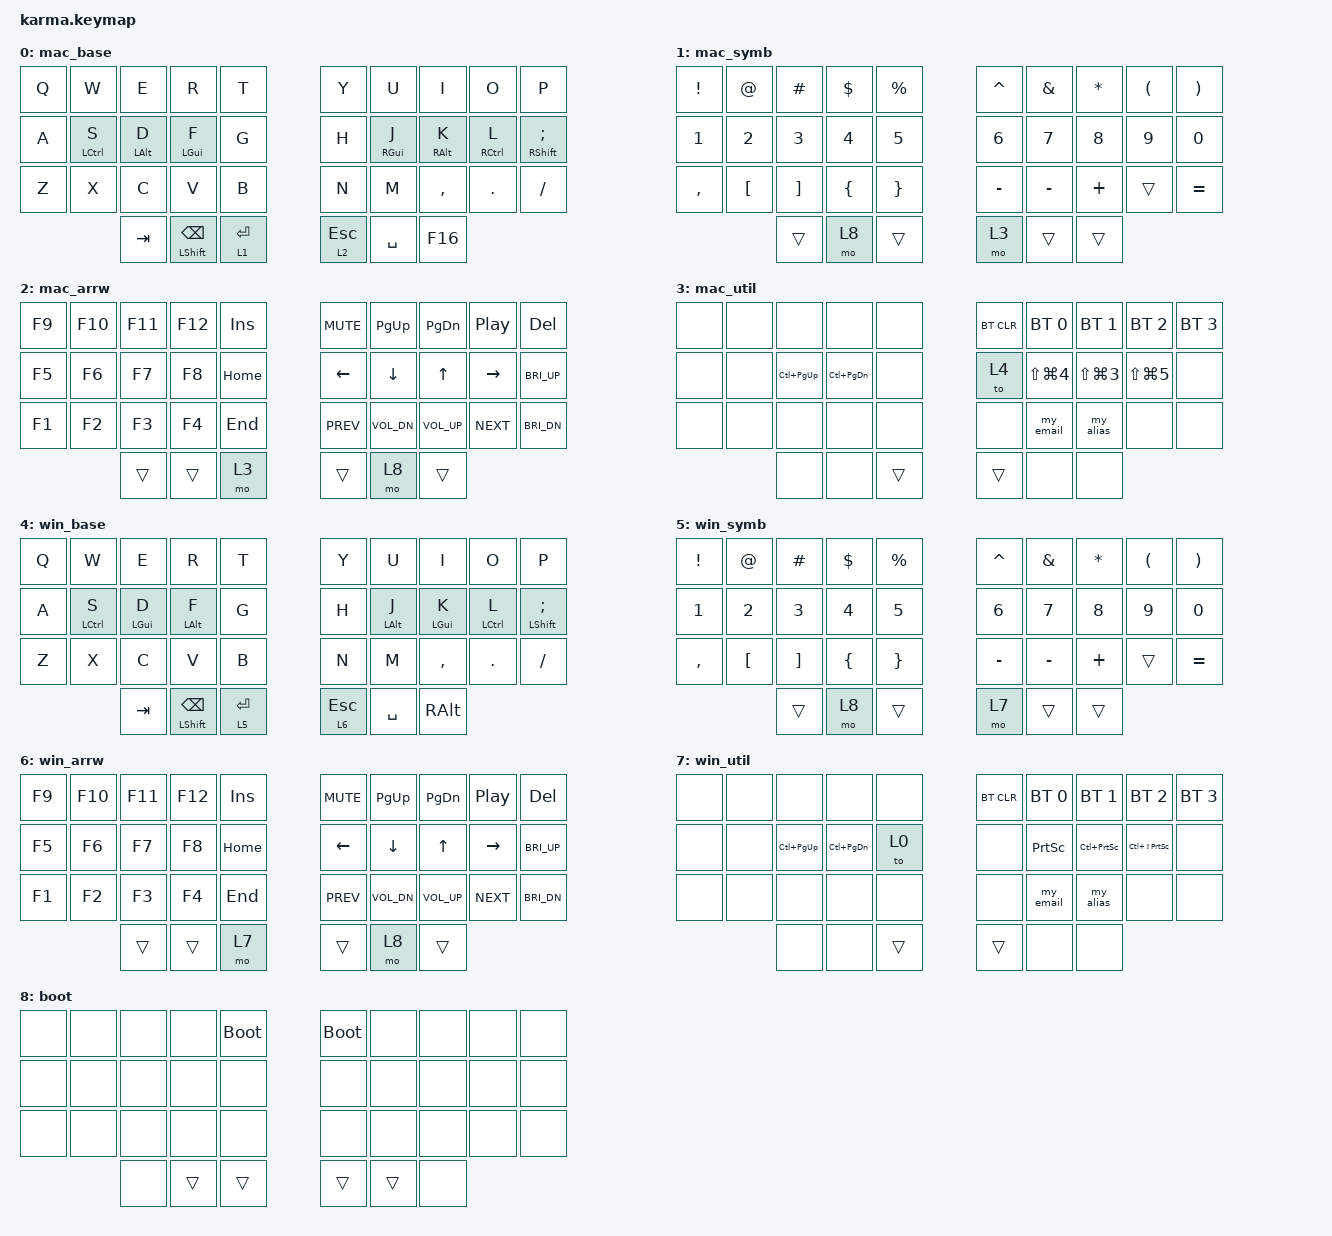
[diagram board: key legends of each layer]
#include <behaviors.dtsi>
#include <dt-bindings/zmk/bt.h>
#include <dt-bindings/zmk/keys.h>

&lt {
    quick-tap-ms = <175>;
    flavor = "hold-preferred";
};

&mt { quick-tap-ms = <175>; };

//  0  1  2  3  4    5  6  7  8  9
// 10 11 12 13 14   15 16 17 18 19
// 20 21 22 23 24   25 26 27 28 29
//       30 31 32   33 34 35

/ {
    combos {
        compatible = "zmk,combos";

        mac_cut {
            bindings = <&kp LG(X)>;
            key-positions = <21 23>;
            layers = <0>;
        };

        mac_copy {
            bindings = <&kp LG(C)>;
            key-positions = <21 22>;
            layers = <0>;
        };

        mac_paste {
            bindings = <&kp LG(V)>;
            key-positions = <22 23>;
            layers = <0>;
        };

        mac_undo {
            bindings = <&kp LG(Z)>;
            key-positions = <21 20>;
            layers = <0>;
        };

        win_cut {
            bindings = <&kp LC(X)>;
            key-positions = <21 23>;
            layers = <4>;
        };

        win_copy {
            bindings = <&kp LC(C)>;
            key-positions = <21 22>;
            layers = <4>;
        };

        win_paste {
            bindings = <&kp LC(V)>;
            key-positions = <22 23>;
            layers = <4>;
        };

        win_undo {
            bindings = <&kp LC(Z)>;
            key-positions = <21 20>;
            layers = <4>;
        };

        sqt {
            bindings = <&kp SQT>;
            key-positions = <16 17>;
            timeout-ms = <35>;
            require-prior-idle-ms = <150>;
            layers = <0 4>;
        };

        minus {
            bindings = <&kp MINUS>;
            key-positions = <17 18>;
            timeout-ms = <35>;
            require-prior-idle-ms = <150>;
            layers = <0 4>;
        };

        grave {
            bindings = <&kp GRAVE>;
            key-positions = <26 27>;
            layers = <0 4>;
        };

        bslh {
            bindings = <&kp BSLH>;
            key-positions = <27 28>;
            layers = <0 4>;
        };

        lt {
            bindings = <&kp LT>;
            key-positions = <26 27>;
            layers = <1 5>;
        };

        gt {
            bindings = <&kp GT>;
            key-positions = <27 28>;
            layers = <1 5>;
        };

        youtube_speed_down {
            bindings = <&youtube_speed_down>;
            key-positions = <11 12>;
            timeout-ms = <35>;
            require-prior-idle-ms = <150>;
            layers = <0 4>;
        };

        youtube_speed_up {
            bindings = <&youtube_speed_up>;
            key-positions = <12 13>;
            timeout-ms = <35>;
            require-prior-idle-ms = <150>;
            layers = <0 4>;
        };
    };

    macros {
        my_email: my_email {
            compatible = "zmk,behavior-macro";
            #binding-cells = <0>;
            bindings = <&kp B &kp L &kp A &kp C &kp K &kp E &kp A &kp G &kp L &kp E &kp N1 &kp N0 &kp AT &kp I &kp C &kp L &kp O &kp U &kp D &kp DOT &kp C &kp O &kp M>;
        };

        my_alias: my_alias {
            compatible = "zmk,behavior-macro";
            #binding-cells = <0>;
            bindings = <&kp LS(U) &kp N &kp LS(E) &kp M &kp O &kp T &kp I &kp O &kp N &kp E &kp LS(D)>;
        };

        // Change YouTube playback speed after entering input mode of Vimium
        youtube_speed_down: youtube_speed_down {
            compatible = "zmk,behavior-macro";
            #binding-cells = <0>;
            bindings = <&kp I &kp LT &kp LT &kp LT &kp LT &kp ESC>;
        };

        youtube_speed_up: youtube_speed_up {
            compatible = "zmk,behavior-macro";
            #binding-cells = <0>;
            bindings = <&kp I &kp GT &kp GT &kp GT &kp GT &kp ESC>;
        };
    };

    behaviors {
        hrm_l: hrm_l {
            compatible = "zmk,behavior-hold-tap";
            bindings = <&kp>, <&kp>;

            #binding-cells = <2>;
            tapping-term-ms = <200>;
            quick-tap-ms = <175>;
            flavor = "tap-preferred";
            hold-trigger-key-positions = <5 6 7 8 9 11 12 13 15 16 17 18 19 25 26 27 28 29 30 31 32 33 34 35>;
        };

        hrm_r: hrm_r {
            compatible = "zmk,behavior-hold-tap";
            bindings = <&kp>, <&kp>;

            #binding-cells = <2>;
            tapping-term-ms = <200>;
            quick-tap-ms = <175>;
            flavor = "tap-preferred";
            hold-trigger-key-positions = <0 1 2 3 4 10 11 12 13 14 16 17 18 19 20 21 22 23 24 30 31 32 33 34 35>;
        };
    };

    keymap {
        compatible = "zmk,keymap";

        mac_base {
            bindings = <
&kp Q  &kp W           &kp E          &kp R          &kp T                                     &kp Y      &kp U          &kp I          &kp O           &kp P
&kp A  &hrm_l LCTRL S  &hrm_l LALT D  &hrm_l LGUI F  &kp G                                     &kp H      &hrm_r RGUI J  &hrm_r RALT K  &hrm_r RCTRL L  &hrm_r RSHFT SEMI
&kp Z  &kp X           &kp C          &kp V          &kp B                                     &kp N      &kp M          &kp COMMA      &kp DOT         &kp SLASH
                                      &kp TAB        &mt LSHFT BSPC  &lt 1 ENTER    &lt 2 ESC  &kp SPACE  &kp F16
            >;
        };

        mac_symb {
            bindings = <
&kp EXCL   &kp AT    &kp HASH  &kp DLLR  &kp PRCNT                   &kp CARET  &kp AMPS   &kp ASTRK  &kp LPAR  &kp RPAR
&kp N1     &kp N2    &kp N3    &kp N4    &kp N5                      &kp N6     &kp N7     &kp N8     &kp N9    &kp N0
&kp COMMA  &kp LBKT  &kp RBKT  &kp LBRC  &kp RBRC                    &kp MINUS  &kp MINUS  &kp PLUS   &trans    &kp EQUAL
                               &trans    &mo 8      &trans    &mo 3  &trans     &trans
            >;
        };

        mac_arrw {
            bindings = <
&kp F9  &kp F10  &kp F11  &kp F12  &kp INS                    &kp C_MUTE  &kp PG_UP     &kp PG_DN     &kp C_PP    &kp DEL
&kp F5  &kp F6   &kp F7   &kp F8   &kp HOME                   &kp LEFT    &kp DOWN      &kp UP        &kp RIGHT   &kp C_BRI_UP
&kp F1  &kp F2   &kp F3   &kp F4   &kp END                    &kp C_PREV  &kp C_VOL_DN  &kp C_VOL_UP  &kp C_NEXT  &kp C_BRI_DN
                          &trans   &trans    &mo 3    &trans  &mo 8       &trans
            >;
        };

        mac_util {
            bindings = <
&none  &none  &none          &none          &none                    &bt BT_CLR  &bt BT_SEL 0    &bt BT_SEL 1    &bt BT_SEL 2    &bt BT_SEL 3
&none  &none  &kp LC(PG_UP)  &kp LC(PG_DN)  &none                    &to 4       &kp LS(LG(N4))  &kp LS(LG(N3))  &kp LS(LG(N5))  &none
&none  &none  &none          &none          &none                    &none       &my_email       &my_alias       &none           &none
                             &none          &none  &trans    &trans  &none       &none
            >;
        };

        win_base {
            bindings = <
&kp Q  &kp W           &kp E          &kp R          &kp T                                     &kp Y      &kp U          &kp I          &kp O           &kp P
&kp A  &hrm_l LCTRL S  &hrm_l LGUI D  &hrm_l LALT F  &kp G                                     &kp H      &hrm_r LALT J  &hrm_r LGUI K  &hrm_r LCTRL L  &hrm_r LSHFT SEMI
&kp Z  &kp X           &kp C          &kp V          &kp B                                     &kp N      &kp M          &kp COMMA      &kp DOT         &kp SLASH
                                      &kp TAB        &mt LSHFT BSPC  &lt 5 ENTER    &lt 6 ESC  &kp SPACE  &kp RALT
            >;
        };

        win_symb {
            bindings = <
&kp EXCL   &kp AT    &kp HASH  &kp DLLR  &kp PRCNT                   &kp CARET  &kp AMPS   &kp ASTRK  &kp LPAR  &kp RPAR
&kp N1     &kp N2    &kp N3    &kp N4    &kp N5                      &kp N6     &kp N7     &kp N8     &kp N9    &kp N0
&kp COMMA  &kp LBKT  &kp RBKT  &kp LBRC  &kp RBRC                    &kp MINUS  &kp MINUS  &kp PLUS   &trans    &kp EQUAL
                               &trans    &mo 8      &trans    &mo 7  &trans     &trans
            >;
        };

        win_arrw {
            bindings = <
&kp F9  &kp F10  &kp F11  &kp F12  &kp INS                    &kp C_MUTE  &kp PG_UP     &kp PG_DN     &kp C_PP    &kp DEL
&kp F5  &kp F6   &kp F7   &kp F8   &kp HOME                   &kp LEFT    &kp DOWN      &kp UP        &kp RIGHT   &kp C_BRI_UP
&kp F1  &kp F2   &kp F3   &kp F4   &kp END                    &kp C_PREV  &kp C_VOL_DN  &kp C_VOL_UP  &kp C_NEXT  &kp C_BRI_DN
                          &trans   &trans    &mo 7    &trans  &mo 8       &trans
            >;
        };

        win_util {
            bindings = <
&none  &none  &none          &none          &none                    &bt BT_CLR  &bt BT_SEL 0     &bt BT_SEL 1         &bt BT_SEL 2             &bt BT_SEL 3
&none  &none  &kp LC(PG_UP)  &kp LC(PG_DN)  &to 0                    &none       &kp PRINTSCREEN  &kp LC(PRINTSCREEN)  &kp LC(LS(PRINTSCREEN))  &none
&none  &none  &none          &none          &none                    &none       &my_email        &my_alias            &none                    &none
                             &none          &none  &trans    &trans  &none       &none
            >;
        };

        boot {
            bindings = <
&none  &none  &none  &none  &bootloader                    &bootloader  &none  &none  &none  &none
&none  &none  &none  &none  &none                          &none        &none  &none  &none  &none
&none  &none  &none  &none  &none                          &none        &none  &none  &none  &none
                     &none  &trans       &trans    &trans  &trans       &none
            >;
        };
    };
};
